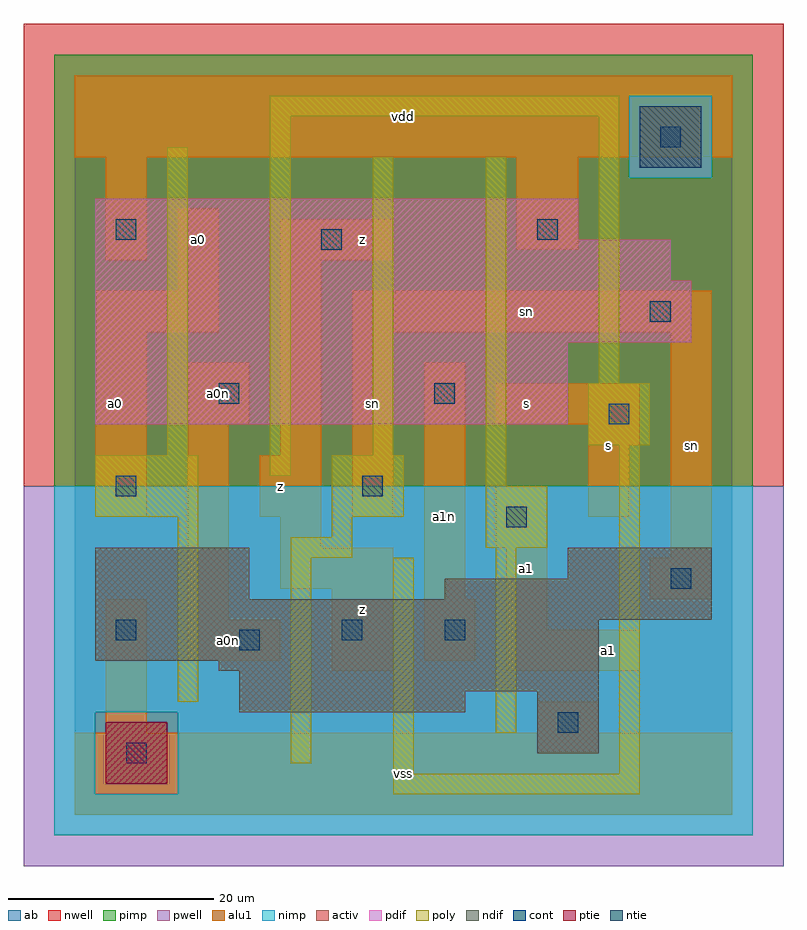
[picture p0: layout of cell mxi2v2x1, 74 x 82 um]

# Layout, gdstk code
import gdstk
lib = gdstk.Library(unit=1e-6, precision=1e-09)
def R(c, l, rs):  # rectangles x0, y0, x1, y1
    for r in rs: c.add(gdstk.rectangle(r[:2], r[2:], *l))
ndif = (3, 0)
pdif = (4, 0)
ntie = (5, 0)
ptie = (6, 0)
cont = (25, 0)
pwell = (41, 0)
nwell = (42, 0)
activ = (43, 0)
pimp = (44, 0)
nimp = (45, 0)
poly = (46, 0)
alu1 = (49, 0)
ab = (63, 0)

mxi2v2x1 = lib.new_cell('mxi2v2x1')
R(mxi2v2x1, ndif, [(45,6,51,12), (16,10,38,12), (16,12,51,14), (14,14,51,15), (2,15,51,19), (2,19,62,21), (2,21,17,26), (36,21,62,23), (48,23,62,26)])
R(mxi2v2x1, pdif, [(2,38,48,46), (2,46,60,52), (2,52,58,56), (2,56,49,60)])
R(mxi2v2x1, ntie, [(55,63,61,69)])
R(mxi2v2x1, ptie, [(3,3,9,9)])
R(mxi2v2x1, cont, [(5,5,7,7), (47,8,49,10), (16,16,18,18), (4,17,6,19), (26,17,28,19), (36,17,38,19), (58,22,60,24), (42,28,44,30), (4,31,6,33), (28,31,30,33), (52,38,54,40), (14,40,16,42), (35,40,37,42), (56,48,58,50), (24,55,26,57), (4,56,6,58), (45,56,47,58), (57,65,59,67)])
R(mxi2v2x1, pwell, [(-5,-5,69,32)])
R(mxi2v2x1, nwell, [(-5,32,69,77)])
R(mxi2v2x1, activ, [(3,3,9,9), (45,6,51,12), (16,10,38,12), (16,12,51,14), (14,14,51,15), (2,15,51,19), (2,19,62,21), (2,21,17,26), (36,21,62,23), (48,23,62,26), (2,38,48,46), (2,46,60,52), (2,52,58,56), (2,56,49,60), (55,63,61,69)])
R(mxi2v2x1, pimp, [(2,2,10,10), (-2,32,66,62), (-2,62,54,70), (62,62,66,70), (-2,70,66,74)])
R(mxi2v2x1, nimp, [(-2,-2,66,2), (-2,2,2,10), (10,2,66,10), (-2,10,66,32), (54,62,62,70)])
R(mxi2v2x1, poly, [(31,2,55,4), (31,4,33,25), (53,4,55,36), (21,5,23,25), (41,8,43,26), (10,11,12,29), (21,25,27,27), (40,26,46,32), (25,27,27,29), (2,29,12,35), (25,29,32,35), (40,32,42,64), (19,33,21,68), (9,35,11,65), (29,35,31,64), (50,36,56,42), (51,42,53,68), (19,68,53,70)])
R(mxi2v2x1, alu1, [(0,0,64,8), (3,8,7,21), (45,8,51,11), (25,14,31,22), (42,14,55,18), (11,15,20,19), (34,15,39,21), (42,18,46,26), (11,19,15,38), (34,21,38,44), (56,21,62,25), (20,22,31,26), (58,25,62,47), (20,26,24,29), (41,26,46,32), (2,29,7,47), (18,29,24,35), (27,29,31,47), (50,29,54,36), (20,35,24,54), (50,36,55,38), (11,38,17,44), (41,38,55,42), (2,47,14,51), (27,47,62,51), (10,51,14,59), (3,54,7,64), (20,54,31,58), (43,55,49,64), (0,64,64,72)])
R(mxi2v2x1, ab, [(0,0,64,72)])
mxi2v2x1.add(gdstk.Label('a0n', (15,17), layer=49, texttype=0))
mxi2v2x1.add(gdstk.Label('a0n', (14,41), layer=49, texttype=0))
mxi2v2x1.add(gdstk.Label('a1n', (36,29), layer=49, texttype=0))
mxi2v2x1.add(gdstk.Label('sn', (29,40), layer=49, texttype=0))
mxi2v2x1.add(gdstk.Label('sn', (44,49), layer=49, texttype=0))
mxi2v2x1.add(gdstk.Label('sn', (60,36), layer=49, texttype=0))
mxi2v2x1.add(gdstk.Label('a0', (4,40), layer=49, texttype=0))
mxi2v2x1.add(gdstk.Label('a0', (12,56), layer=49, texttype=0))
mxi2v2x1.add(gdstk.Label('z', (28,20), layer=49, texttype=0))
mxi2v2x1.add(gdstk.Label('z', (20,32), layer=49, texttype=0))
mxi2v2x1.add(gdstk.Label('z', (28,56), layer=49, texttype=0))
mxi2v2x1.add(gdstk.Label('vss', (32,4), layer=49, texttype=0))
mxi2v2x1.add(gdstk.Label('a1', (44,24), layer=49, texttype=0))
mxi2v2x1.add(gdstk.Label('s', (44,40), layer=49, texttype=0))
mxi2v2x1.add(gdstk.Label('vdd', (32,68), layer=49, texttype=0))
mxi2v2x1.add(gdstk.Label('a1', (52,16), layer=49, texttype=0))
mxi2v2x1.add(gdstk.Label('s', (52,36), layer=49, texttype=0))

lib.write_gds('mxi2v2x1.gds')
